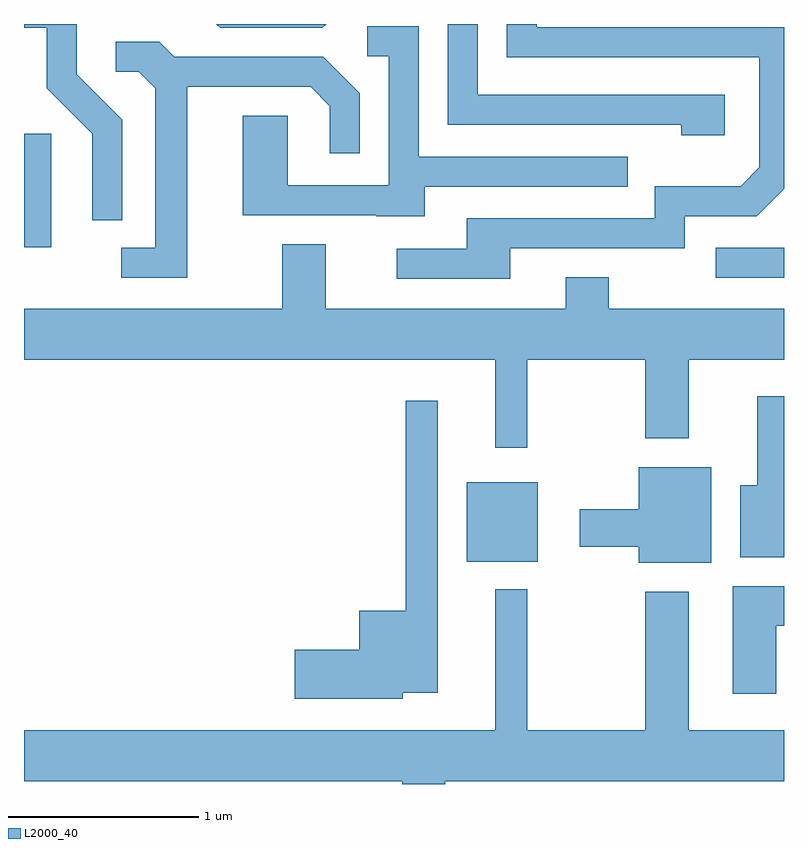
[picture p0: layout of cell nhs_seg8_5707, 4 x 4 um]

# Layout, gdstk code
import gdstk
lib = gdstk.Library(unit=1e-6, precision=1e-09)
def R(c, l, rs):  # rectangles x0, y0, x1, y1
    for r in rs: c.add(gdstk.rectangle(r[:2], r[2:], *l))
def P(c, l, *ps):  # polygons
    for p in ps: c.add(gdstk.Polygon(p, *l))
L2000_40 = (2000, 40)

nhs_seg8_5707 = lib.new_cell('nhs_seg8_5707')
R(nhs_seg8_5707, L2000_40, [(357.941,1897.511,358.314,1897.929), (359.253,1899.006,359.611,1899.164), (355.611,1899.166,355.754,1899.764)])
P(nhs_seg8_5707, L2000_40, [(358.169,1899.161),(359.089,1899.161),(359.089,1899.331),(359.467,1899.331),(359.611,1899.476),(359.611,1900.324),(358.309,1900.324),(358.309,1900.342),(358.151,1900.342),(358.151,1900.166),(359.481,1900.166),(359.481,1899.587),(359.384,1899.489),(358.931,1899.489),(358.931,1899.319),(357.941,1899.319),(357.941,1899.159),(357.573,1899.159),(357.573,1899.001),(358.169,1899.001)],
  [(359.299,1899.969),(357.999,1899.969),(357.999,1900.342),(357.841,1900.342),(357.841,1899.811),(359.071,1899.811),(359.071,1899.756),(359.299,1899.756)],
  [(357.203,1900.342),(356.623,1900.342),(356.644,1900.321),(357.182,1900.321)],
  [(356.129,1899.837),(355.889,1900.077),(355.889,1900.342),(355.611,1900.342),(355.611,1900.321),(355.731,1900.321),(355.731,1900.004),(355.971,1899.764),(355.971,1899.308),(356.129,1899.308)],
  [(357.719,1899.486),(358.788,1899.486),(358.788,1899.644),(357.689,1899.644),(357.689,1900.329),(357.418,1900.329),(357.418,1900.171),(357.531,1900.171),(357.531,1899.494),(356.999,1899.494),(356.999,1899.859),(356.761,1899.859),(356.761,1899.336),(357.465,1899.336),(357.465,1899.331),(357.719,1899.331)],
  [(356.469,1900.011),(357.119,1900.011),(357.221,1899.909),(357.221,1899.663),(357.379,1899.663),(357.379,1899.977),(357.187,1900.169),(356.402,1900.169),(356.322,1900.249),(356.093,1900.249),(356.093,1900.091),(356.214,1900.091),(356.301,1900.004),(356.301,1899.164),(356.123,1899.164),(356.123,1899.006),(356.469,1899.006)],
  [(358.259,1898.576),(358.881,1898.576),(358.881,1898.161),(359.109,1898.161),(359.109,1898.576),(359.611,1898.576),(359.611,1898.844),(358.689,1898.844),(358.689,1899.009),(358.461,1899.009),(358.461,1898.844),(357.199,1898.844),(357.199,1899.184),(356.971,1899.184),(356.971,1898.844),(355.611,1898.844),(355.611,1898.576),(358.091,1898.576),(358.091,1898.113),(358.259,1898.113)],
  [(359.611,1898.384),(359.471,1898.384),(359.471,1897.914),(359.381,1897.914),(359.381,1897.536),(359.611,1897.536)],
  [(357.604,1896.821),(357.789,1896.821),(357.789,1898.358),(357.621,1898.358),(357.621,1897.254),(357.376,1897.254),(357.376,1897.049),(357.036,1897.049),(357.036,1896.791),(357.604,1896.791)],
  [(359.229,1898.009),(358.846,1898.009),(358.846,1897.789),(358.536,1897.789),(358.536,1897.591),(358.846,1897.591),(358.846,1897.506),(359.229,1897.506)],
  [(359.569,1897.176),(359.611,1897.176),(359.611,1897.384),(359.341,1897.384),(359.341,1896.816),(359.569,1896.816)],
  [(357.829,1896.356),(359.611,1896.356),(359.611,1896.624),(359.109,1896.624),(359.109,1897.354),(358.881,1897.354),(358.881,1896.624),(358.259,1896.624),(358.259,1897.368),(358.091,1897.368),(358.091,1896.624),(355.611,1896.624),(355.611,1896.356),(357.601,1896.356),(357.601,1896.342),(357.829,1896.342)])

lib.write_gds('nhs_seg8_5707.gds')
